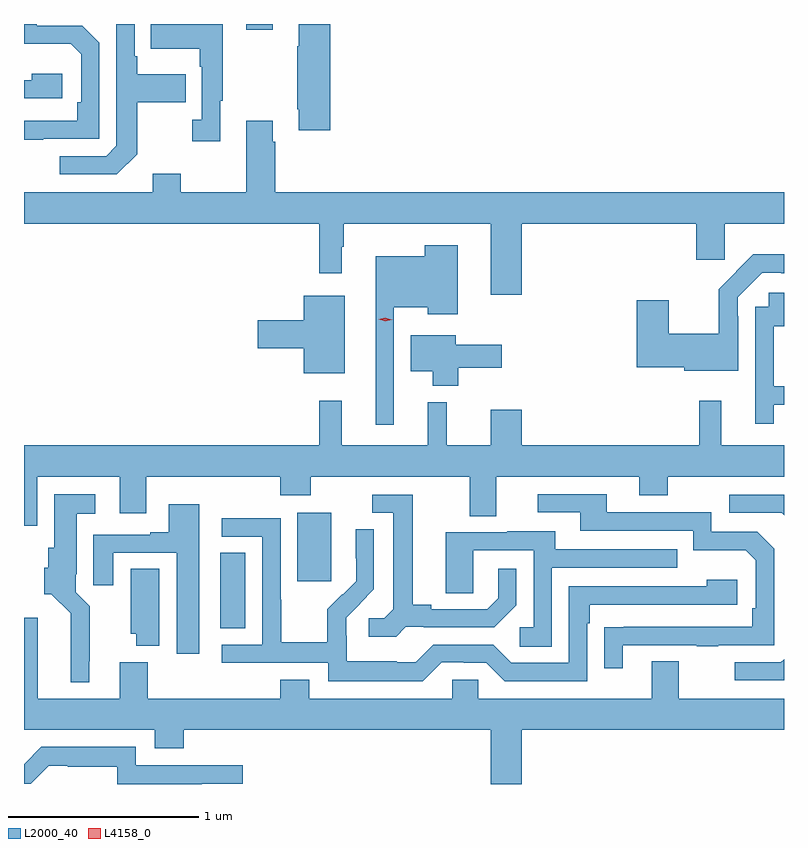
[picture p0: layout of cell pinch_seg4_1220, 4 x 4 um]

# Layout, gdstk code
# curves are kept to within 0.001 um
import gdstk
lib = gdstk.Library(unit=1e-6, precision=1e-09)
def R(c, l, rs):  # rectangles x0, y0, x1, y1
    for r in rs: c.add(gdstk.rectangle(r[:2], r[2:], *l))
def P(c, l, *ps):  # polygons
    for p in ps: c.add(gdstk.Polygon(p, *l))
L2000_40 = (2000, 40)
L4158_0 = (4158, 0)

pinch_seg4_1220 = lib.new_cell('pinch_seg4_1220')
R(pinch_seg4_1220, L2000_40, [(199.55,818.665,199.681,819.062), (199.955,818.913,200.134,819.274), (199.685,821.817,199.825,821.846)])
P(pinch_seg4_1220, L2000_40, [(200.129,821.846),(199.961,821.846),(199.961,821.729),(199.954,821.729),(199.954,821.398),(199.961,821.398),(199.961,821.286),(200.129,821.286)],
  [(199.549,821.441),(199.561,821.441),(199.561,821.846),(199.183,821.846),(199.183,821.717),(199.44,821.717),(199.44,821.621),(199.452,821.621),(199.452,821.342),(199.401,821.342),(199.401,821.229),(199.549,821.229)],
  [(199.111,821.161),(199.111,821.434),(199.367,821.434),(199.367,821.581),(199.111,821.581),(199.111,821.677),(199.098,821.677),(199.098,821.846),(199.002,821.846),(199.002,821.205),(198.948,821.151),(198.705,821.151),(198.705,821.055),(199.005,821.055)],
  [(198.617,821.241),(198.912,821.241),(198.912,821.748),(198.822,821.838),(198.582,821.838),(198.582,821.846),(198.516,821.846),(198.516,821.741),(198.763,821.741),(198.816,821.688),(198.816,821.434),(198.796,821.434),(198.796,821.337),(198.516,821.337),(198.516,821.236),(198.617,821.236)],
  [(198.718,821.584),(198.557,821.584),(198.557,821.55),(198.516,821.55),(198.516,821.454),(198.718,821.454)],
  [(201.136,820.796),(202.055,820.796),(202.055,820.605),(202.205,820.605),(202.205,820.796),(202.516,820.796),(202.516,820.96),(199.838,820.96),(199.838,821.225),(199.825,821.225),(199.825,821.338),(199.685,821.338),(199.685,820.96),(199.341,820.96),(199.341,821.059),(199.193,821.059),(199.193,820.96),(198.516,820.96),(198.516,820.796),(200.071,820.796),(200.071,820.533),(200.188,820.533),(200.188,820.673),(200.2,820.673),(200.2,820.796),(200.972,820.796),(200.972,820.422),(201.136,820.422)],
  [(200.463,820.355),(200.642,820.355),(200.642,820.319),(200.8,820.319),(200.8,820.681),(200.625,820.681),(200.625,820.624),(200.366,820.624),(200.366,819.738),(200.463,819.738)],
  [(202.275,820.307),(202.272,820.307),(202.272,820.407),(202.401,820.536),(202.501,820.536),(202.501,820.533),(202.516,820.533),(202.516,820.633),(202.354,820.633),(202.172,820.45),(202.172,820.216),(201.91,820.216),(201.91,820.393),(201.74,820.393),(201.74,820.04),(201.99,820.04),(201.99,820.022),(202.275,820.022)],
  [(202.462,819.843),(202.516,819.843),(202.516,819.939),(202.461,819.939),(202.461,820.256),(202.516,820.256),(202.516,820.432),(202.437,820.432),(202.437,820.359),(202.365,820.359),(202.365,819.741),(202.462,819.741)],
  [(200.203,820.417),(199.988,820.417),(199.988,820.286),(199.746,820.286),(199.746,820.139),(199.988,820.139),(199.988,820.007),(200.203,820.007)],
  [(200.801,820.037),(201.031,820.037),(201.031,820.159),(200.788,820.159),(200.788,820.207),(200.552,820.207),(200.552,820.019),(200.666,820.019),(200.666,819.941),(200.801,819.941)],
  [(198.585,819.464),(199.019,819.464),(199.019,819.27),(199.159,819.27),(199.159,819.464),(199.865,819.464),(199.865,819.365),(200.025,819.365),(200.025,819.464),(200.861,819.464),(200.861,819.256),(201.001,819.256),(201.001,819.464),(201.755,819.464),(201.755,819.365),(201.903,819.365),(201.903,819.464),(202.516,819.464),(202.516,819.628),(202.187,819.628),(202.187,819.862),(202.069,819.862),(202.069,819.628),(201.136,819.628),(201.136,819.817),(200.972,819.817),(200.972,819.628),(200.742,819.628),(200.742,819.856),(200.642,819.856),(200.642,819.628),(200.189,819.628),(200.189,819.862),(200.071,819.862),(200.071,819.628),(198.516,819.628),(198.516,819.204),(198.585,819.204)],
  [(201.667,818.577),(202.057,818.577),(202.057,818.572),(202.169,818.572),(202.169,818.577),(202.464,818.577),(202.464,819.084),(202.374,819.174),(202.134,819.174),(202.134,819.276),(201.583,819.276),(201.583,819.372),(201.219,819.372),(201.219,819.276),(201.443,819.276),(201.443,819.18),(202.038,819.18),(202.038,819.077),(202.315,819.077),(202.368,819.024),(202.368,818.77),(202.348,818.77),(202.348,818.673),(201.571,818.672),(201.571,818.454),(201.667,818.454)],
  [(198.859,818.491),(198.863,818.491),(198.863,818.782),(198.789,818.856),(198.789,818.95),(198.793,818.95),(198.793,819.269),(198.892,819.269),(198.892,819.37),(198.674,819.37),(198.674,819.09),(198.644,819.09),(198.644,818.985),(198.623,818.985),(198.623,818.846),(198.66,818.846),(198.762,818.744),(198.761,818.381),(198.859,818.381)],
  [(202.516,819.369),(202.227,819.369),(202.227,819.273),(202.503,819.273),(202.516,819.26)],
  [(200.526,818.673),(200.62,818.673),(200.62,818.67),(200.992,818.67),(201.108,818.786),(201.108,818.98),(201.011,818.98),(201.011,818.823),(200.954,818.766),(200.659,818.766),(200.659,818.789),(200.563,818.789),(200.563,819.369),(200.349,819.369),(200.349,819.273),(200.459,819.273),(200.459,818.765),(200.412,818.718),(200.331,818.718),(200.331,818.621),(200.474,818.621)],
  [(199.438,819.319),(199.277,819.319),(199.277,819.172),(199.181,819.172),(199.181,819.159),(198.881,819.159),(198.881,818.892),(198.985,818.892),(198.985,819.063),(199.319,819.063),(199.319,818.532),(199.438,818.532)],
  [(200.715,818.487),(200.831,818.487),(200.831,818.484),(200.949,818.484),(201.045,818.388),(201.48,818.388),(201.48,818.693),(201.493,818.693),(201.493,818.79),(202.27,818.79),(202.27,818.92),(202.109,818.92),(202.109,818.886),(201.384,818.886),(201.384,818.484),(201.081,818.484),(200.985,818.58),(200.67,818.58),(200.577,818.487),(200.477,818.487),(200.477,818.491),(200.214,818.491),(200.214,818.625),(200.212,818.625),(200.212,818.722),(200.358,818.87),(200.358,819.188),(200.262,819.188),(200.262,819.034),(200.264,819.034),(200.264,818.912),(200.193,818.841),(200.19,818.844),(200.113,818.767),(200.113,818.593),(199.869,818.593),(199.869,818.816),(199.866,818.816),(199.866,819.246),(199.557,819.246),(199.557,819.147),(199.77,819.147),(199.77,818.58),(199.557,818.58),(199.557,818.484),(200.118,818.484),(200.118,818.387),(200.615,818.387)],
  [(201.294,818.985),(201.953,818.985),(201.953,819.081),(201.313,819.081),(201.313,819.175),(201.059,819.175),(201.059,819.171),(200.735,819.171),(200.735,818.851),(200.88,818.851),(200.88,819.075),(201.198,819.075),(201.198,818.67),(201.126,818.67),(201.126,818.569),(201.294,818.569)],
  [(199.228,818.978),(199.079,818.978),(199.079,818.637),(199.106,818.637),(199.106,818.573),(199.228,818.573)],
  [(201.136,818.132),(202.516,818.132),(202.516,818.296),(201.961,818.296),(201.961,818.491),(201.821,818.491),(201.821,818.296),(200.907,818.296),(200.907,818.394),(200.769,818.394),(200.769,818.296),(200.017,818.296),(200.017,818.395),(199.865,818.395),(199.865,818.296),(199.167,818.296),(199.167,818.488),(199.019,818.488),(199.019,818.296),(198.589,818.296),(198.589,818.722),(198.516,818.722),(198.516,818.132),(199.205,818.132),(199.205,818.033),(199.358,818.033),(199.358,818.132),(200.972,818.132),(200.972,817.846),(201.136,817.846)],
  [(202.516,818.503),(202.5,818.487),(202.257,818.487),(202.257,818.391),(202.516,818.391)],
  [(199.452,817.848),(199.666,817.848),(199.666,817.944),(199.104,817.944),(199.104,818.041),(198.607,818.041),(198.516,817.95),(198.516,817.848),(198.552,817.848),(198.645,817.941),(198.745,817.941),(198.745,817.937),(199.008,817.937),(199.008,817.846),(199.452,817.846)])
P(pinch_seg4_1220, L4158_0, [(200.416,820.282),(200.382,820.293),(200.381,820.293),(200.382,820.293),(200.418,820.301),(200.452,820.29),(200.453,820.29),(200.452,820.289)])

lib.write_gds('pinch_seg4_1220.gds')
